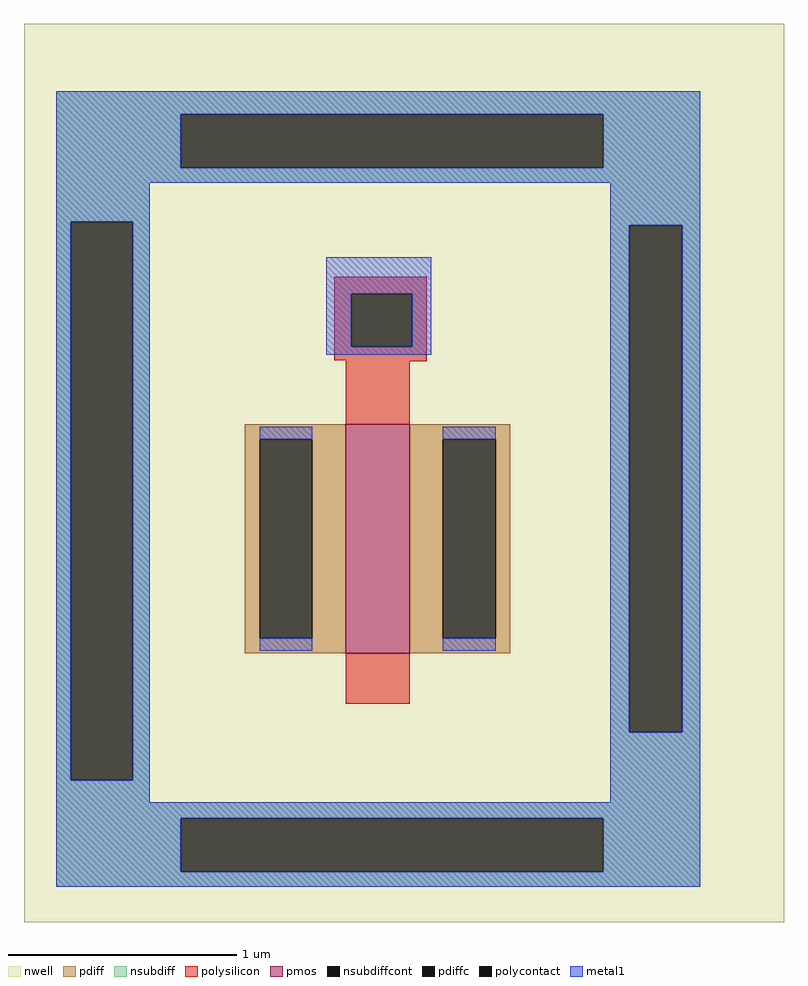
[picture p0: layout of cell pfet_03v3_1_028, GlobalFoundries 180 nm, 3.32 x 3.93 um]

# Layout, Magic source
magic
tech gf180mcuD
magscale 1 10
<< nwell >>
rect -151 -136 513 649
<< nsubdiff >>
rect -123 570 440 590
rect -123 523 -14 570
rect 355 523 440 570
rect -123 510 440 523
rect -123 476 -41 510
rect -123 -12 -110 476
rect -56 -12 -41 476
rect 361 473 440 510
rect -123 -31 -41 -12
rect 361 30 378 473
rect 424 30 440 473
rect 361 -31 440 30
rect -123 -45 440 -31
rect -123 -92 -14 -45
rect 355 -92 440 -45
rect -123 -105 440 -92
<< nsubdiffcont >>
rect -14 523 355 570
rect -110 -12 -56 476
rect 378 30 424 473
rect -14 -92 355 -45
<< polysilicon >>
rect 120 413 201 428
rect 120 367 135 413
rect 188 367 201 413
rect 120 355 201 367
rect 130 354 201 355
rect 130 340 186 354
<< polycontact >>
rect 135 367 188 413
<< metal1 >>
rect -123 570 440 590
rect -123 523 -14 570
rect 355 523 440 570
rect -123 510 440 523
rect -123 476 -41 510
rect -123 -12 -110 476
rect -56 -12 -41 476
rect 361 473 440 510
rect 113 413 205 445
rect 113 367 135 413
rect 188 367 205 413
rect 113 360 205 367
rect -123 -31 -41 -12
rect 361 30 378 473
rect 424 30 440 473
rect 361 -31 440 30
rect -123 -45 440 -31
rect -123 -92 -14 -45
rect 355 -92 440 -45
rect -123 -105 440 -92
use pfet_03v3_9MEGGS  pfet_03v3_9MEGGS_0
transform 1 0 158 0 1 199
box -202 -230 202 230
<< end >>

# cell pfet_03v3_9MEGGS: kit device pfet_03v3, w 1 l 0.280 m 1 nf 1 diffcov 100 polycov 100 guard 0 glc 0 grc 0 gtc 0 gbc 0 tbcov 100 rlcov 100 topc 0 botc 0 poverlap 0 doverlap 0 lmin 0.28 wmin 0.22 class mosfet full_metal 0 compatible {pfet_03v3 pfet_06v0}
